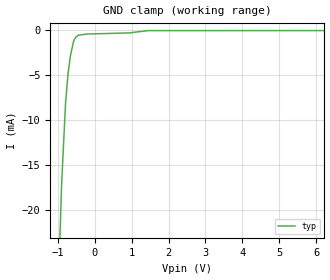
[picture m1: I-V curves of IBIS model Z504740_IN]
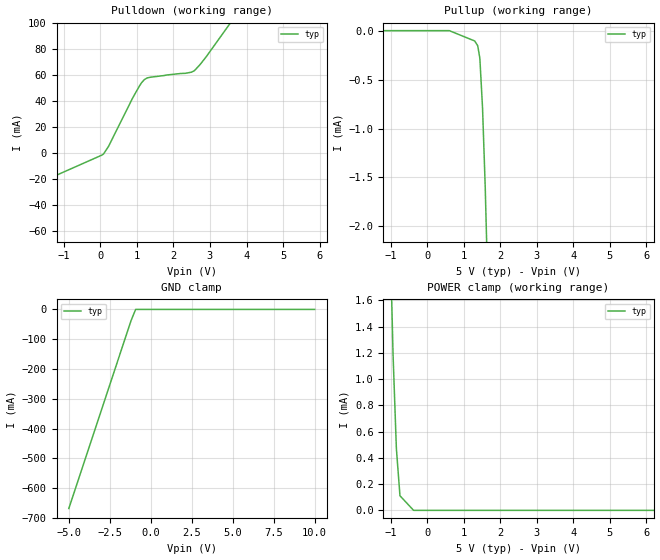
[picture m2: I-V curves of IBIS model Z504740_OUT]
| YOU ARE ONLY AUTHORIZED TO USE THIS SOFTWARE
| ACCORDING TO LICENSOR'S LICENSE RESTRICTIONS.
[IBIS Ver] 3.1
[File Name] sn74ls90n.ibs
[File Rev] 2.0
[Source] Measured and created by ICX Technology
[Date] Friday 7/14/00 9:08:21 AM
[Copyright]
| (C) COPYRIGHT 1993-2000
| MENTOR GRAPHICS CORPORATION
| ICX STANDARD LIBRARY, ICX PROJECT MODELING,
| ICX CUSTOM MODELING, ICX VENDOR MODEL
| ALL RIGHTS RESERVED.
| THE FOLLOWING ARE TRADEMARKS OR SERVICE MARKS OF
| MENTOR GRAPHICS CORPORATION:ICX (R), ICX STANDARD
| LIBRARY(R), ICX PROJECT MODELING(R), ICX CUSTOM
| MODELING(R), qualityIBIS(TM), MODELVIEWER(TM),
| AND MODELEDITOR(TM)
| ALL COPIES OF SOFTWARE, INCLUDING BUT NOT LIMITED TO
| ANY MODIFICATIONS, ENHANCEMENTS OR DERIVATIVE WORKS,
| MUST CONTAIN ALL MENTOR GRAPHICS CORPORATION'S
| NOTICES AND LEGENDS, INCLUDING THOSE EMBEDDED IN
| SOFTWARE AND THOSE AFFIXED TO SOFTWARE MEDIUM
| AND CONTAINER, AS RECEIVED FROM MENTOR GRAPHICS
| CORPORATION.
|  ZAP Model Builder 2.7
[Component] SN74LS90N
[Manufacturer] OnSemiconductor
[Package]
| variable   typ   min   max
R_pkg  .21ohms NA NA
L_pkg  4.543nH NA NA
C_pkg  1.059pF NA NA
[Pin] signal_name  model_name  R_pin  L_pin C_pin
1 _CLKB Z504740_IN .22 6.757n 1.432p
2 R0_1 Z504740_IN .212 4.757n 1.142p
3 R0_2 Z504740_IN .204 3.257n .852p
4 NC NC .196 2.257n .562p
5 VCC POWER .204 3.257n .852p
6 R9_1 Z504740_IN .212 4.757n 1.142p
7 R9_2 Z504740_IN .22 6.757n 1.432p
8 QC Z504740_OUT .22 6.757n 1.432p
9 QB Z504740_OUT .212 4.757n 1.142p
10 GND GND .204 3.257n .852p
11 QD Z504740_OUT .196 2.257n .562p
12 QA Z504740_OUT .204 3.257n .852p
13 NC NC .212 4.757n 1.142p
14 _CLKA Z504740_IN .22 6.757n 1.432p
| Models and submodels in the file (2): Z504740_IN (Input), Z504740_OUT (Output)
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| (C) COPYRIGHT 1993-2000
| MENTOR GRAPHICS CORPORATION
| ICX STANDARD LIBRARY, ICX PROJECT MODELING,
| ICX CUSTOM MODELING, ICX VENDOR MODEL
| ALL RIGHTS RESERVED.
| THE FOLLOWING ARE TRADEMARKS OR SERVICE MARKS OF
| MENTOR GRAPHICS CORPORATION:ICX (R), ICX STANDARD
| LIBRARY(R), ICX PROJECT MODELING(R), ICX CUSTOM
| MODELING(R), qualityIBIS(TM), MODELVIEWER(TM),
| AND MODELEDITOR(TM)
| ALL COPIES OF SOFTWARE, INCLUDING BUT NOT LIMITED TO
| ANY MODIFICATIONS, ENHANCEMENTS OR DERIVATIVE WORKS,
| MUST CONTAIN ALL MENTOR GRAPHICS CORPORATION'S
| NOTICES AND LEGENDS, INCLUDING THOSE EMBEDDED IN
| SOFTWARE AND THOSE AFFIXED TO SOFTWARE MEDIUM
| AND CONTAINER, AS RECEIVED FROM MENTOR GRAPHICS
| CORPORATION.
| Model Application Version 1.89 2/18/99.
[Model] Z504740_IN
Model_type Input
Vinl = 800.0mV
Vinh = 2.000V
C_comp 4.000pF NA NA
| variable typ   min   max
[Voltage Range] 5.000V NA NA
[GND Clamp Reference] 0.000V NA NA
[POWER Clamp Reference] 5.000V NA NA
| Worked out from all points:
|   GND clamp passes 1 mA (typ) near -0.55 V on its own axis
[GND Clamp]
-5V       -559.3mA   NA         NA
-893.4mV  -17.1mA    NA         NA
-785.5mV  -8.01mA    NA         NA
-720.3mV  -4.839mA   NA         NA
-657.1mV  -2.869mA   NA         NA
-576.2mV  -1.311mA   NA         NA
-540.8mV  -943.2uA   NA         NA
-443.6mV  -533.3uA   NA         NA
-221.8mV  -397.2uA   NA         NA
947.2mV   -266uA     NA         NA
1.445V    -14.81uA   NA         NA
10V       -11.35uA   NA         NA
[POWER Clamp]
-5V       0A         NA         NA
10V       0A         NA         NA
| (C) COPYRIGHT 1993-2000
| MENTOR GRAPHICS CORPORATION
| ICX STANDARD LIBRARY, ICX PROJECT MODELING,
| ICX CUSTOM MODELING, ICX VENDOR MODEL
| ALL RIGHTS RESERVED.
| THE FOLLOWING ARE TRADEMARKS OR SERVICE MARKS OF
| MENTOR GRAPHICS CORPORATION:ICX (R), ICX STANDARD
| LIBRARY(R), ICX PROJECT MODELING(R), ICX CUSTOM
| MODELING(R), qualityIBIS(TM), MODELVIEWER(TM),
| AND MODELEDITOR(TM)
| ALL COPIES OF SOFTWARE, INCLUDING BUT NOT LIMITED TO
| ANY MODIFICATIONS, ENHANCEMENTS OR DERIVATIVE WORKS,
| MUST CONTAIN ALL MENTOR GRAPHICS CORPORATION'S
| NOTICES AND LEGENDS, INCLUDING THOSE EMBEDDED IN
| SOFTWARE AND THOSE AFFIXED TO SOFTWARE MEDIUM
| AND CONTAINER, AS RECEIVED FROM MENTOR GRAPHICS
| CORPORATION.
| Model Application Version 1.89 2/18/99.
[Model] Z504740_OUT
Model_type Output
Vref=5.000V
Rref=2.000kohms
Cref=15.00pF
Vmeas=1.300V
C_comp 8.000pF NA NA
| variable typ   min   max
[Voltage Range] 5.000V NA NA
[POWER Clamp Reference] 5.000V NA NA
[Pullup Reference] 5.000V NA NA
[Pulldown Reference] 0.000V NA NA
[GND Clamp Reference] 0.000V NA NA
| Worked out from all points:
|   slope of the pulldown table from 0 to 0.75 V, typ, clamps not added: 20.3 ohm
|   slope of the pullup table from 0 to 0.75 V, typ, clamps not added: 33.8 kohm
|   GND clamp passes 1 mA (typ) near -0.93 V on its own axis
|   POWER clamp passes 1 mA (typ) near -0.91 V on its own axis
[GND Clamp]
-5V       -668.2mA   NA         NA
-1.206V   -38.29mA   NA         NA
-1.035V   -14.9mA    NA         NA
-920mV    0A         NA         NA
10V       0A         NA         NA
[Pulldown]
-5V       -64.03mA   NA         NA
48.9mV    -1.26mA    NA         NA
87.89mV   -411.7uA   NA         NA
224.5mV   5.42mA     NA         NA
878.9mV   42.34mA    NA         NA
1.069V    51.83mA    NA         NA
1.203V    56.74mA    NA         NA
1.28V     58.04mA    NA         NA
2.493V    62.48mA    NA         NA
2.575V    63.66mA    NA         NA
2.9V      74.44mA    NA         NA
10V       353.4mA    NA         NA
[Pullup]
-5V       8.165uA    NA         NA
605mV     8.165uA    NA         NA
1.299V    -97.91uA   NA         NA
1.382V    -146.8uA   NA         NA
1.44V     -275.8uA   NA         NA
1.514V    -789.4uA   NA         NA
1.587V    -1.599mA   NA         NA
10V       -123.9mA   NA         NA
[POWER Clamp]
-5V       53.39mA    NA         NA
-1.098V   3.018mA    NA         NA
-936mV    1.188mA    NA         NA
-845mV    472.1uA    NA         NA
-747mV    111.3uA    NA         NA
-373.5mV  0A         NA         NA
10V       0A         NA         NA
[Ramp]
| variable typ min max
dV/dt_r 1.802/9.958n NA NA
dV/dt_f 1.802/1.721n NA NA
R_load = 500.0Ohms
